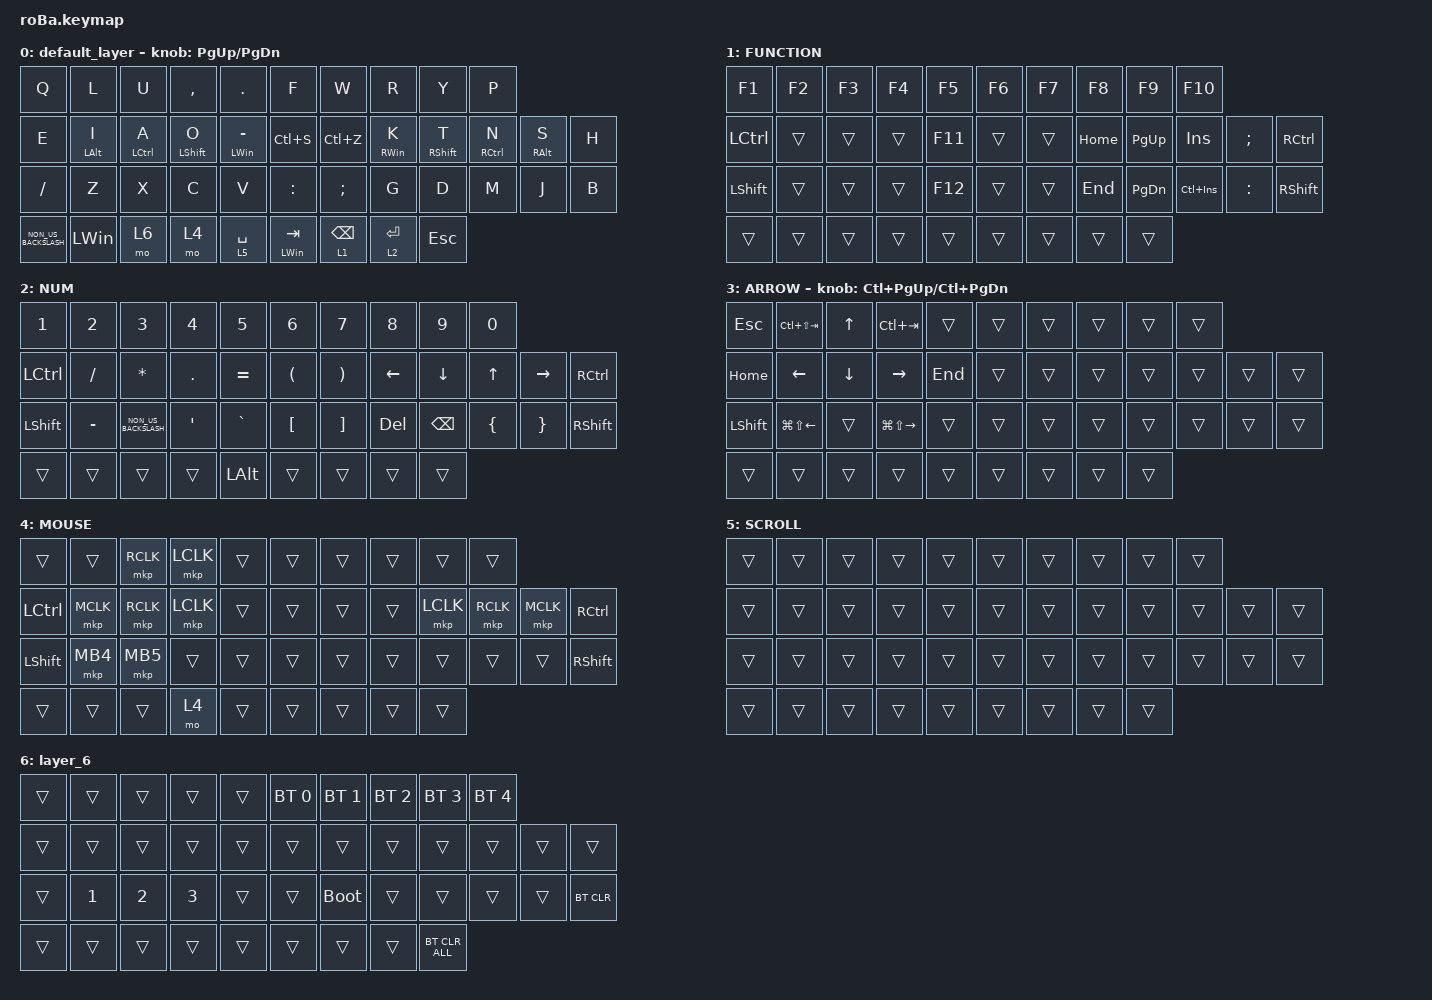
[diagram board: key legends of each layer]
#include <behaviors.dtsi>
#include <dt-bindings/zmk/bt.h>
#include <dt-bindings/zmk/keys.h>
#include <dt-bindings/zmk/pointing.h>

#define MOUSE 4
#define SCROLL 5
#define NUM 6

&mt {
    flavor = "balanced";
    quick-tap-ms = <0>;
};

/ {
    combos {
        compatible = "zmk,combos";

        ent {
            bindings = <&kp ENTER>;
            key-positions = <19 20>;
        };

        tab {
            bindings = <&kp TAB>;
            key-positions = <13 12>;
            layers = <0>;
        };

        bs {
            bindings = <&kp BACKSPACE>;
            key-positions = <18 19>;
        };

        esc {
            bindings = <&kp ESCAPE>;
            key-positions = <8 9>;
        };

        ins {
            bindings = <&kp INS>;
            key-positions = <5 6>;
        };

        home {
            bindings = <&kp HOME>;
            key-positions = <17 18>;
        };

        end {
            bindings = <&kp END>;
            key-positions = <29 30>;
        };

        pg_up {
            bindings = <&kp PAGE_UP>;
            key-positions = <30 31>;
        };

        pg_dw {
            bindings = <&kp PAGE_DOWN>;
            key-positions = <31 32>;
        };

        spc {
            bindings = <&kp SPACE>;
            key-positions = <11 12>;
        };

        shift_spc {
            bindings = <&kp LS(SPACE)>;
            key-positions = <1 2>;
        };

        cap {
            bindings = <&kp CLCK>;
            key-positions = <0 1>;
        };

        lang1 {
            bindings = <&kp LANG1>;
            key-positions = <23 24>;
        };

        lang2 {
            bindings = <&kp LANGUAGE_5>;
            key-positions = <24 25>;
        };

    };

    macros {
        to_layer_0: to_layer_0 {
            compatible = "zmk,behavior-macro-one-param";
            #binding-cells = <1>;
            bindings = <&to 0 &macro_param_1to1 &kp MACRO_PLACEHOLDER>;
            label = "TO_LAYER_0";
        };

        // USER MACROS

    };

    behaviors {
        ht: hold_tap {
            compatible = "zmk,behavior-hold-tap";
            label = "HOLD_TAP";
            #binding-cells = <2>;
            tapping-term-ms = <200>;
            quick-tap-ms = <0>;
            flavor = "tap-preferred";
            bindings = <&kp>, <&kp>;
        };

        lt_to_layer_0: lt_to_layer_0 {
            compatible = "zmk,behavior-hold-tap";
            label = "LAYER_TAP_TO_0";
            bindings = <&mo>, <&to_layer_0>;

            #binding-cells = <2>;
            tapping-term-ms = <200>;
        };
    };

    keymap {
        compatible = "zmk,keymap";

        default_layer {
            bindings = <
&kp Q  &kp L  &kp U  &kp COMMA  &kp PERIOD  &kp F  &kp W  &kp R  &kp Y  &kp P
&kp E  &mt LALT I  &mt LCTRL A  &mt LSHFT O  &mt LEFT_WIN MINUS  &kp LC(S)  &kp LC(Z)  &mt RIGHT_WIN K  &mt RSHFT T  &mt RCTRL N  &mt RALT S  &kp H
&kp SLASH  &kp Z  &kp X  &kp C  &kp V  &kp COLON  &kp SEMICOLON  &kp G  &kp D  &kp M  &kp J  &kp B
&kp NON_US_BACKSLASH  &kp LEFT_WIN  &mo 6  &mo 4  &lt 5 SPACE  &mt LEFT_WIN TAB  &lt 1 BACKSPACE  &lt 2 ENTER  &kp ESCAPE
            >;

            sensor-bindings = <&inc_dec_kp PG_UP PAGE_DOWN>;
        };

        FUNCTION {
            bindings = <
&kp F1  &kp F2  &kp F3  &kp F4  &kp F5  &kp F6  &kp F7  &kp F8  &kp F9  &kp F10
&kp LEFT_CONTROL  &trans  &trans  &trans  &kp F11  &trans  &trans  &kp HOME  &kp PAGE_UP  &kp INS  &kp SEMICOLON  &kp RIGHT_CONTROL
&kp LSHFT  &trans  &trans  &trans  &kp F12  &trans  &trans  &kp END  &kp PAGE_DOWN  &kp LC(INS)  &kp COLON  &kp RSHFT
&trans  &trans  &trans  &trans  &trans  &trans  &trans  &trans  &trans
            >;
        };

        NUM {
            bindings = <
&kp N1  &kp N2  &kp N3  &kp N4  &kp N5  &kp N6  &kp N7  &kp N8  &kp N9  &kp N0
&kp LEFT_CONTROL  &kp SLASH  &kp ASTERISK  &kp DOT  &kp EQUAL  &kp LEFT_PARENTHESIS  &kp RPAR  &kp LEFT  &kp DOWN  &kp UP_ARROW  &kp RIGHT_ARROW  &kp RIGHT_CONTROL
&kp LSHFT  &kp MINUS  &kp NON_US_BACKSLASH  &kp SQT  &kp GRAVE  &kp LEFT_BRACKET  &kp RIGHT_BRACKET  &kp DELETE  &kp BACKSPACE  &kp LEFT_BRACE  &kp RIGHT_BRACE  &kp RSHFT
&trans  &trans  &trans  &trans  &kp LEFT_ALT  &trans  &trans  &trans  &trans
            >;
        };

        ARROW {
            bindings = <
&kp ESCAPE  &kp LC(LS(TAB))  &kp UP_ARROW  &kp LC(TAB)  &trans  &trans  &trans  &trans  &trans  &trans
&kp HOME  &kp LEFT_ARROW  &kp DOWN_ARROW  &kp RIGHT_ARROW  &kp END  &trans  &trans  &trans  &trans  &trans  &trans  &trans
&kp LEFT_SHIFT  &kp LG(LS(LEFT_ARROW))  &trans  &kp LG(LS(RIGHT_ARROW))  &trans  &trans  &trans  &trans  &trans  &trans  &trans  &trans
&trans  &trans  &trans  &trans  &trans  &trans  &trans  &trans  &trans
            >;

            sensor-bindings = <&inc_dec_kp LC(PAGE_UP) LC(PAGE_DOWN)>;
        };

        MOUSE {
            bindings = <
&trans  &trans  &mkp RCLK  &mkp LCLK  &trans  &trans  &trans  &trans  &trans  &trans
&kp LEFT_CONTROL  &mkp MCLK  &mkp RCLK  &mkp LCLK  &trans  &trans  &trans  &trans  &mkp LCLK  &mkp RCLK  &mkp MCLK  &kp RIGHT_CONTROL
&kp LEFT_SHIFT  &mkp MB4  &mkp MB5  &trans  &trans  &trans  &trans  &trans  &trans  &trans  &trans  &kp RIGHT_SHIFT
&trans  &trans  &trans  &mo 4  &trans  &trans  &trans  &trans  &trans
            >;
        };

        SCROLL {
            bindings = <
&trans  &trans  &trans  &trans  &trans  &trans  &trans  &trans  &trans  &trans
&trans  &trans  &trans  &trans  &trans  &trans  &trans  &trans  &trans  &trans  &trans  &trans
&trans  &trans  &trans  &trans  &trans  &trans  &trans  &trans  &trans  &trans  &trans  &trans
&trans  &trans  &trans  &trans  &trans  &trans  &trans  &trans  &trans
            >;
        };

        layer_6 {
            bindings = <
&trans  &trans  &trans  &trans  &trans  &bt BT_SEL 0  &bt BT_SEL 1  &bt BT_SEL 2  &bt BT_SEL 3  &bt BT_SEL 4
&trans  &trans  &trans  &trans  &trans  &trans  &trans  &trans  &trans  &trans  &trans  &trans
&trans  &kp NUMBER_1  &kp NUMBER_2  &kp NUMBER_3  &trans  &trans  &bootloader  &trans  &trans  &trans  &trans  &bt BT_CLR
&trans  &trans  &trans  &trans  &trans  &trans  &trans  &trans  &bt BT_CLR_ALL
            >;
        };
    };
};
